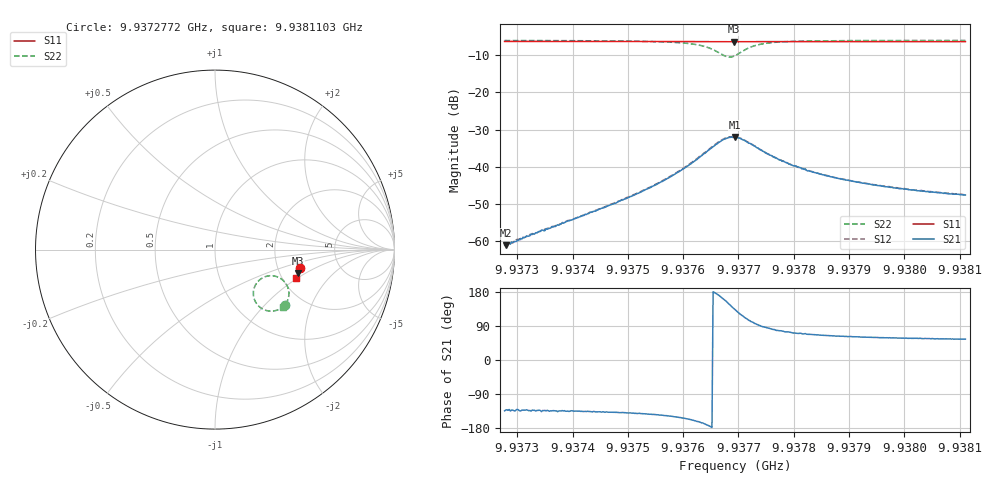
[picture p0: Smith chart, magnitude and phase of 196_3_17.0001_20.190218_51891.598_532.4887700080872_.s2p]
#  HZ  S  RI  R  50.00
! Rohde & Schwarz Vector Network Analyzer
! Rohde-Schwarz,ZNB20-2Port,1311601062101988,3.16
! Created: UTC 3/20/2024, 11:00:52 PM
! freq[Hz]  re:S11  im:S11  re:S21  im:S21  re:S12  im:S12  re:S22  im:S22
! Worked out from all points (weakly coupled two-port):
!   401 points, 9.9372772 GHz to 9.9381103 GHz, reference 50 ohm
!   highest |S21| = -32.02 dB at 9.9376938 GHz (marker M1); lowest = -61.1 dB at 9.9372793 GHz (marker M2)
!   lowest |S11| = -6.4 dB at 9.9376917 GHz (marker M3), VSWR 2.84, Z = 125 - j42.5 ohm
!   |S11| at or under -10 dB: nowhere
!   |S22| runs from -10.5 to -6.0 dB; largest |S21 - S12| = 0.0011
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9.93727724e9  0.4721 -0.1052  -0.000623 -0.000641  -0.000576 -0.000633  0.3901 -0.3092
9.93727932e9  0.4721 -0.1053  -0.00059 -0.000656  -0.000634 -0.00065  0.3899 -0.3091
9.93732722e9  0.471 -0.1085  -0.000827 -0.000909  -0.00089 -0.000901  0.3855 -0.3132
9.93741678e9  0.4691 -0.1146  -0.00156 -0.00154  -0.00159 -0.00151  0.3749 -0.3218
9.93750216e9  0.4672 -0.1203  -0.00296 -0.00251  -0.00305 -0.00249  0.3583 -0.3319
9.93755631e9  0.4659 -0.1241  -0.00495 -0.00346  -0.00507 -0.00346  0.3385 -0.3399
9.93759797e9  0.4646 -0.127  -0.00814 -0.00418  -0.00835 -0.00413  0.3103 -0.343
9.93763962e9  0.4628 -0.1297  -0.0149 -0.00288  -0.0154 -0.00243  0.2546 -0.3242
9.93765628e9  0.462 -0.1305  -0.019 0.000473  -0.0195 0.00107  0.2256 -0.2913
9.93767086e9  0.4612 -0.1308  -0.0218 0.0064  -0.0219 0.00735  0.2137 -0.2394
9.93768127e9  0.4608 -0.1308  -0.0211 0.0123  -0.0211 0.0132  0.2267 -0.1949
9.93769169e9  0.4607 -0.1307  -0.0178 0.0173  -0.0177 0.0183  0.261 -0.1597
9.93769377e9  0.4608 -0.1308  -0.0171 0.0183  -0.0167 0.019  0.2695 -0.1552
9.93770418e9  0.4612 -0.131  -0.0119 0.0207  -0.0112 0.0214  0.3137 -0.1453
9.93771876e9  0.4617 -0.1318  -0.00527 0.02  -0.00488 0.0206  0.3632 -0.1592
9.93774167e9  0.4619 -0.1336  0.000331 0.0167  0.000547 0.0167  0.3998 -0.1973
9.93777083e9  0.4615 -0.1359  0.0026 0.0125  0.00283 0.0125  0.4113 -0.2348
9.93779582e9  0.461 -0.1379  0.00319 0.0101  0.00337 0.0101  0.411 -0.2552
9.93783331e9  0.4604 -0.1405  0.0033 0.00785  0.0035 0.00789  0.4074 -0.275
9.93789996e9  0.4587 -0.1451  0.00308 0.00574  0.0032 0.00574  0.3992 -0.2946
9.93797285e9  0.4568 -0.1499  0.00275 0.00455  0.0029 0.00458  0.3916 -0.3071
9.93811031e9  0.4533 -0.1589  0.00239 0.00342  0.00252 0.00338  0.3803 -0.322
